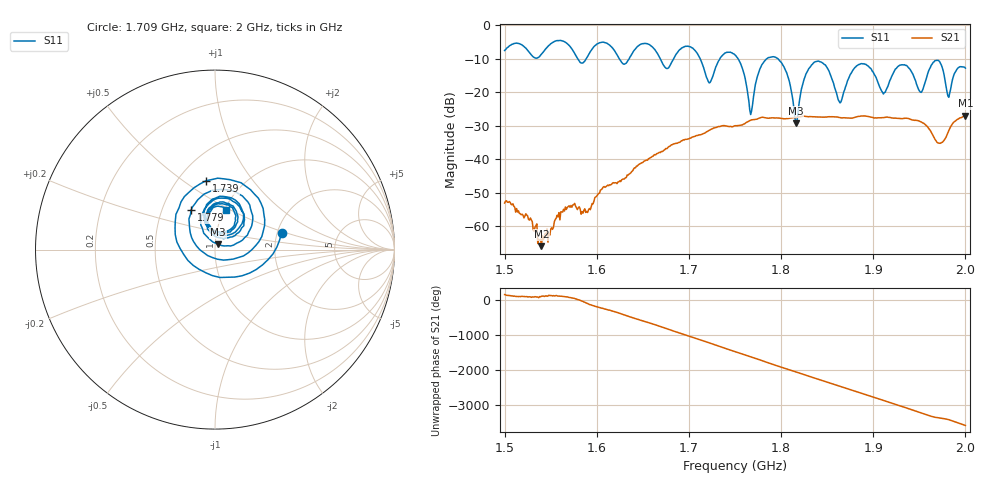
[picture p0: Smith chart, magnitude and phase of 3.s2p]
! NanoVNA-App by SYSJOINT et al v1.1.209 (+OD18)
! Date: 2026-01-21 14:15:01
! Start: 1,5GHz Stop: 2GHz Points: 501
! S-Parameter data: F S11 S21 S12 S22
# Hz S RI R 50
!  Frequency  S11_Real  S11_Imag  S21_Real  S21_Imag  S12_Real  S12_Imag  S22_Real  S22_Imag
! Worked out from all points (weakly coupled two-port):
!   501 points, 1.5 GHz to 2 GHz, reference 50 ohm
!   highest |S21| = -26.92 dB at 2 GHz (marker M1); lowest = -65.9 dB at 1.54 GHz (marker M2)
!   lowest |S11| = -29.2 dB at 1.816 GHz (marker M3), VSWR 1.07, Z = 51.6 + j3.14 ohm
!   |S11| at or under -10 dB: 1.712 GHz to 1.733 GHz (21.16 MHz wide, 1.23 % of centre); 1.753 GHz to 1.784 GHz (30.73 MHz wide, 1.74 % of centre); 1.797 GHz to end of sweep (the widest 3 of 6)
!   S12 and S22 are empty: the file has one direction only
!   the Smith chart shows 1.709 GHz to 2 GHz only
!   S11 on the Smith chart (normalised r, x): 1.709 GHz: 2.12, +0.47; 1.739 GHz: 0.68, +0.61; 1.779 GHz: 0.70, +0.33; 2 GHz: 1.02, +0.48
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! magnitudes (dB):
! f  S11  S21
! 1.5 GHz  -7.5  -53.0
! 1.54 GHz  -8.6  -65.9
! 1.584 GHz  -11.2  -55.6
! 1.605 GHz  -5.0  -49.1
! 1.667 GHz  -9.0  -38.1
! 1.709 GHz  -8.3  -32.9
! 1.722 GHz  -17.1  -31.3
! 1.739 GHz  -8.2  -29.9
! 1.75 GHz  -8.8  -30.0
! 1.767 GHz  -26.6  -28.3
! 1.779 GHz  -11.8  -27.4
! 1.801 GHz  -11.4  -27.8
! 1.816 GHz  -29.2  -27.5
! 1.834 GHz  -11.6  -27.3
! 1.864 GHz  -23.1  -27.5
! 1.885 GHz  -11.6  -27.2
! 1.917 GHz  -17.3  -27.5
! 1.934 GHz  -11.7  -27.7
! 1.952 GHz  -20.0  -28.8
! 1.972 GHz  -10.8  -35.2
! 1.982 GHz  -21.5  -31.4
! 2 GHz  -12.7  -26.9
